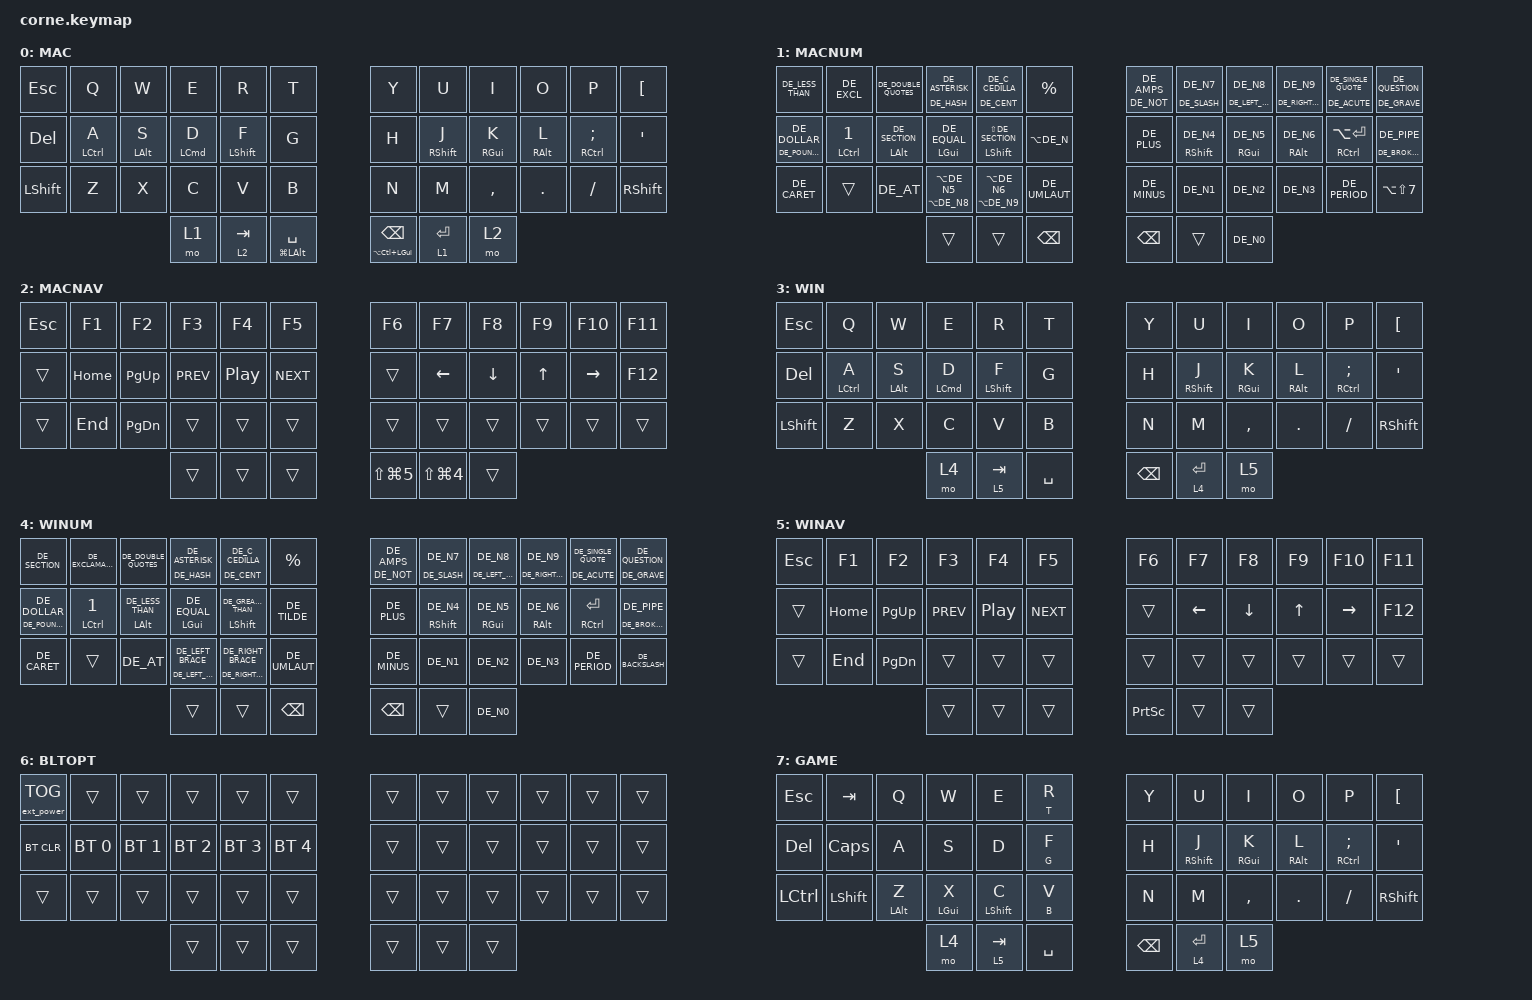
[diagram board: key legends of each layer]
/*
 * Copyright (c) 2020 The ZMK Contributors
 *
 * SPDX-License-Identifier: MIT
 */

#include "keys_de_swiss.h"
#include <behaviors.dtsi>
#include <dt-bindings/zmk/bt.h>
#include <dt-bindings/zmk/ext_power.h>
#include <dt-bindings/zmk/keys.h>

/ {
    combos {
        compatible = "zmk,combos";

        to-MAC {
            bindings = <&to 0>;
            key-positions = <36 37>;
            layers = <6 7>;
        };

        to-WIN {
            bindings = <&to 3>;
            key-positions = <36 37>;
            layers = <0 6>;
        };

        CapsWord {
            bindings = <&caps_word>;
            key-positions = <19 16>;
        };

        to-OPTION {
            bindings = <&to 6>;
            key-positions = <30 29>;
            layers = <0 3 7>;
        };

        CapsLock {
            bindings = <&kp CAPSLOCK>;
            key-positions = <12 13>;
        };

        to-GAME {
            bindings = <&to 7>;
            key-positions = <36 37>;
            layers = <6 3>;
        };
    };

    behaviors {
        hmr: hmr {
            compatible = "zmk,behavior-hold-tap";
            label = "HMR";
            bindings = <&kp>, <&kp>;

            #binding-cells = <2>;
            tapping-term-ms = <190>;
            quick-tap-ms = <175>;
            flavor = "balanced";
            hold-trigger-key-positions = <0 1 2 3 4 5 12 13 14 15 16 17 24 25 26 27 28 29 36 37 38 39 40 41>;
            hold-trigger-on-release;
        };

        hml: hml {
            compatible = "zmk,behavior-hold-tap";
            label = "HML";
            bindings = <&kp>, <&kp>;

            #binding-cells = <2>;
            tapping-term-ms = <190>;
            quick-tap-ms = <175>;
            flavor = "balanced";
            hold-trigger-key-positions = <6 7 8 9 10 11 18 19 20 21 22 23 30 31 32 33 34 35 38 39 40 41 36 37>;
            hold-trigger-on-release;
        };
    };

    keymap {
        compatible = "zmk,keymap";

        default_mac_layer {
            // -----------------------------------------------------------------------------------------
            // |  TAB |  Q  |  W  |  E  |  R  |  T  |   |  Y  |  U   |  I  |  O  |  P  | BSPC |
            // | CTRL |  A  |  S  |  D  |  F  |  G  |   |  H  |  J   |  K  |  L  |  ;  |  '   |
            // | SHFT |  Z  |  X  |  C  |  V  |  B  |   |  N  |  M   |  ,  |  .  |  /  | ESC  |
            //                    | GUI | LWR | SPC |   | ENT | RSE  | ALT |

            bindings = <
&kp ESCAPE  &kp Q                &kp W            &kp E                &kp R              &kp T                      &kp Y                            &kp U               &kp I             &kp O             &kp P                    &kp LEFT_BRACKET
&kp DELETE  &hmr LEFT_CONTROL A  &hml LEFT_ALT S  &hml LEFT_COMMAND D  &hml LEFT_SHIFT F  &kp G                      &kp H                            &hmr RIGHT_SHIFT J  &hmr RIGHT_GUI K  &hmr RIGHT_ALT L  &hmr RIGHT_CONTROL SEMI  &kp SQT
&kp LSHIFT  &kp Z                &kp X            &kp C                &kp V              &kp B                      &kp N                            &kp M               &kp COMMA         &kp DOT           &kp FSLH                 &kp RIGHT_SHIFT
                                                  &mo 1                &lt 2 TAB          &hml LG(LEFT_ALT) SPACE    &hmr LA(LC(LEFT_GUI)) BACKSPACE  &lt 1 RETURN        &mo 2
            >;

            label = "MAC";
        };

        mac_raise_layer {
            // -----------------------------------------------------------------------------------------
            // |  TAB |  !  |  @  |  #  |  $  |  %  |   |  ^  |  &  |  *  |  (  |  )  | BSPC |
            // | CTRL |     |     |     |     |     |   |  -  |  =  |  [  |  ]  |  \  |  `   |
            // | SHFT |     |     |     |     |     |   |  _  |  +  |  {  |  }  | "|" |  ~   |
            //                    | GUI |     | SPC |   | ENT |     | ALT |

            bindings = <
&kp DE_LESS_THAN              &kp DE_EXCL                 &kp DE_DOUBLE_QUOTES      &hml DE_HASH DE_ASTERISK  &hml DE_CENT DE_C_CEDILLA       &kp PRCNT        &hmr DE_NOT DE_AMPS  &hmr DE_SLASH DE_N7     &hmr DE_LEFT_PARENTHESIS DE_N8  &hmr DE_RIGHT_PARENTHESIS DE_N9  &hmr DE_ACUTE DE_SINGLE_QUOTE  &hmr DE_GRAVE DE_QUESTION
&hml DE_POUND_SIGN DE_DOLLAR  &hml LEFT_CONTROL NUMBER_1  &hml LEFT_ALT DE_SECTION  &hml LEFT_GUI DE_EQUAL    &hml LEFT_SHIFT LS(DE_SECTION)  &kp LA(DE_N)     &kp DE_PLUS          &hmr RIGHT_SHIFT DE_N4  &hmr RIGHT_GUI DE_N5            &hmr RIGHT_ALT DE_N6             &hmr RIGHT_CONTROL LA(RET)     &hmr DE_BROKEN_BAR DE_PIPE
&kp DE_CARET                  &trans                      &kp DE_AT                 &hml LA(DE_N8) LA(DE_N5)  &hml LA(DE_N9) LA(DE_N6)        &kp DE_UMLAUT    &kp DE_MINUS         &kp DE_N1               &kp DE_N2                       &kp DE_N3                        &kp DE_PERIOD                  &kp LA(LS(NUMBER_7))
                                                                                    &trans                    &trans                          &kp BACKSPACE    &kp BACKSPACE        &trans                  &kp DE_N0
            >;

            label = "MACNUM";
        };

        mac_lower_layer {
            bindings = <
&kp ESCAPE  &kp F1    &kp F2         &kp F3      &kp F4    &kp F5        &kp F6                &kp F7                &kp F8          &kp F9        &kp F10          &kp F11
&trans      &kp HOME  &kp PAGE_UP    &kp C_PREV  &kp C_PP  &kp C_NEXT    &trans                &kp LEFT_ARROW        &kp DOWN_ARROW  &kp UP_ARROW  &kp RIGHT_ARROW  &kp F12
&trans      &kp END   &kp PAGE_DOWN  &trans      &trans    &trans        &trans                &trans                &trans          &trans        &trans           &trans
                                     &trans      &trans    &trans        &kp LS(LG(NUMBER_5))  &kp LS(LG(NUMBER_4))  &trans
            >;

            label = "MACNAV";
        };

        default_win_layer {
            bindings = <
&kp ESCAPE      &kp Q                &kp W            &kp E                &kp R              &kp T        &kp Y          &kp U               &kp I             &kp O             &kp P                    &kp LEFT_BRACKET
&kp DELETE      &hmr LEFT_CONTROL A  &hml LEFT_ALT S  &hml LEFT_COMMAND D  &hml LEFT_SHIFT F  &kp G        &kp H          &hmr RIGHT_SHIFT J  &hmr RIGHT_GUI K  &hmr RIGHT_ALT L  &hmr RIGHT_CONTROL SEMI  &kp SQT
&kp LEFT_SHIFT  &kp Z                &kp X            &kp C                &kp V              &kp B        &kp N          &kp M               &kp COMMA         &kp DOT           &kp FSLH                 &kp RIGHT_SHIFT
                                                      &mo 4                &lt 5 TAB          &kp SPACE    &kp BACKSPACE  &lt 4 RETURN        &mo 5
            >;

            label = "WIN";
        };

        win_raise_layer {
            bindings = <
&kp DE_SECTION                &kp DE_EXCLAMATION          &kp DE_DOUBLE_QUOTES        &hml DE_HASH DE_ASTERISK            &hml DE_CENT DE_C_CEDILLA             &kp PRCNT        &hmr DE_NOT DE_AMPS  &hmr DE_SLASH DE_N7     &hmr DE_LEFT_PARENTHESIS DE_N8  &hmr DE_RIGHT_PARENTHESIS DE_N9  &hmr DE_ACUTE DE_SINGLE_QUOTE  &hmr DE_GRAVE DE_QUESTION
&hml DE_POUND_SIGN DE_DOLLAR  &hml LEFT_CONTROL NUMBER_1  &hml LEFT_ALT DE_LESS_THAN  &hml LEFT_GUI DE_EQUAL              &hml LEFT_SHIFT DE_GREATER_THAN       &kp DE_TILDE     &kp DE_PLUS          &hmr RIGHT_SHIFT DE_N4  &hmr RIGHT_GUI DE_N5            &hmr RIGHT_ALT DE_N6             &hmr RIGHT_CONTROL RETURN      &hmr DE_BROKEN_BAR DE_PIPE
&kp DE_CARET                  &trans                      &kp DE_AT                   &hml DE_LEFT_BRACKET DE_LEFT_BRACE  &hml DE_RIGHT_BRACKET DE_RIGHT_BRACE  &kp DE_UMLAUT    &kp DE_MINUS         &kp DE_N1               &kp DE_N2                       &kp DE_N3                        &kp DE_PERIOD                  &kp DE_BACKSLASH
                                                                                      &trans                              &trans                                &kp BACKSPACE    &kp BACKSPACE        &trans                  &kp DE_N0
            >;

            label = "WINUM";
        };

        win_lower_layer {
            bindings = <
&kp ESCAPE  &kp F1    &kp F2         &kp F3      &kp F4    &kp F5        &kp F6           &kp F7          &kp F8          &kp F9        &kp F10          &kp F11
&trans      &kp HOME  &kp PAGE_UP    &kp C_PREV  &kp C_PP  &kp C_NEXT    &trans           &kp LEFT_ARROW  &kp DOWN_ARROW  &kp UP_ARROW  &kp RIGHT_ARROW  &kp F12
&trans      &kp END   &kp PAGE_DOWN  &trans      &trans    &trans        &trans           &trans          &trans          &trans        &trans           &trans
                                     &trans      &trans    &trans        &kp PRINTSCREEN  &trans          &trans
            >;

            label = "WINAV";
        };

        keeb_pref_layer {
            // -----------------------------------------------------------------------------------------
            // |  TAB |  1  |  2  |  3  |  4  |  5  |   |  6  |  7  |  8  |  9  |  0  | BSPC |
            // | BTCLR| BT1 | BT2 | BT3 | BT4 | BT5 |   | LFT | DWN |  UP | RGT |     |      |
            // | SHFT |     |     |     |     |     |   |     |     |     |     |     |      |
            //                    | GUI |     | SPC |   | ENT |     | ALT |

            bindings = <
&ext_power EP_TOG  &trans        &trans        &trans        &trans        &trans          &trans  &trans  &trans  &trans  &trans  &trans
&bt BT_CLR         &bt BT_SEL 0  &bt BT_SEL 1  &bt BT_SEL 2  &bt BT_SEL 3  &bt BT_SEL 4    &trans  &trans  &trans  &trans  &trans  &trans
&trans             &trans        &trans        &trans        &trans        &trans          &trans  &trans  &trans  &trans  &trans  &trans
                                               &trans        &trans        &trans          &trans  &trans  &trans
            >;

            label = "BLTOPT";
        };

        Gaming {
            label = "GAME";
            bindings = <
&kp ESCAPE  &kp TAB         &kp Q            &kp W            &kp E              &hml T R     &kp Y          &kp U               &kp I             &kp O             &kp P                    &kp LEFT_BRACKET
&kp DELETE  &kp CAPSLOCK    &kp A            &kp S            &kp D              &hml G F     &kp H          &hmr RIGHT_SHIFT J  &hmr RIGHT_GUI K  &hmr RIGHT_ALT L  &hmr RIGHT_CONTROL SEMI  &kp SQT
&kp LCTRL   &kp LEFT_SHIFT  &hml LEFT_ALT Z  &hml LEFT_GUI X  &hml LEFT_SHIFT C  &hml B V     &kp N          &kp M               &kp COMMA         &kp DOT           &kp FSLH                 &kp RIGHT_SHIFT
                                             &mo 4            &lt 5 TAB          &kp SPACE    &kp BACKSPACE  &lt 4 RETURN        &mo 5
            >;
        };
    };
};
